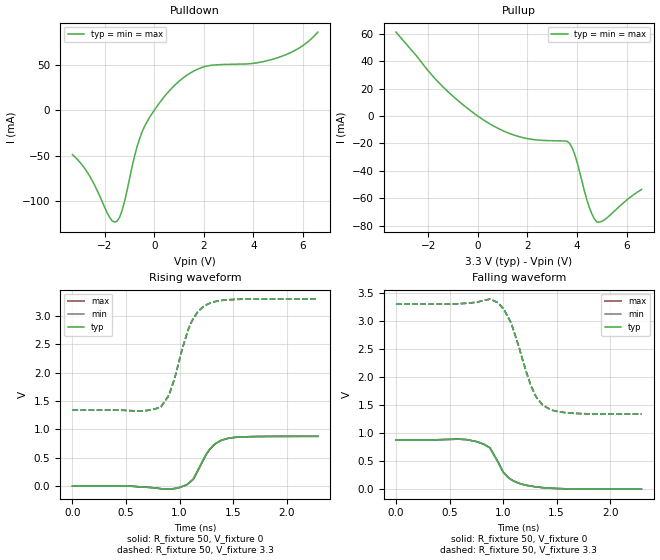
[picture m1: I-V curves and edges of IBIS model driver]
| IBIS file ex2_skewp_tr1ps.ibs created by PYS2IBIS3
| Missouri S&T EMC Lab
[IBIS Ver] 7.1
[File Name] ex2_skewp_tr1ps.ibs
[File Rev] 1.0
[Date] July 28, 2026
[Source] ex2 variant 'skewp' -- output PMOS at half width
[Notes] Parameter selection; sim_time=2.292e-09, tr=tf=1.000e-12.
[Disclaimer] Experimental characterization for pybis observability study.
[Component] MCM Driver 1
[Manufacturer] MegaFLOPS Inc.
[Package]
| variable   typ   min   max
R_pkg 0 NA NA
L_pkg 0H NA NA
C_pkg 0F NA NA
[Pin]  signal_name   model_name   R_pin   L_pin   C_pin
vdd   vdd   POWER
gnd   gnd   GND
| in in dummy
out   out   driver
| End of Component
| Models and submodels in the file (1): driver (Output)
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[Model] driver
Model_type Output
Polarity Non-Inverting
Enable Active-Low
Vinl  = 0.8V
Vinh  = 2V
C_comp 5.0000pF 5.0000pF 5.0000pF
[Temperature Range] 27.0000 27.0000 27.0000
[Voltage Range] 3.3000V 3.3000V 3.3000V
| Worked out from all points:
|   slope of the pulldown table from 0 to 0.495 V, typ, clamps not added: 27.4 ohm
|   slope of the pullup table from 0 to 0.495 V, typ, clamps not added: 85.1 ohm
|   rising waveform, R_fixture 50, V_fixture 0: 20-80 % time 165ps typ, 165ps min, 165ps max; typ from 0 V to 0.876 V
|   rising waveform, R_fixture 50, V_fixture 3.3: 20-80 % time 191ps typ, 190ps min, 190ps max; typ from 1.34 V to 3.3 V
|   falling waveform, R_fixture 50, V_fixture 0: 20-80 % time 185ps typ, 183ps min, 183ps max; typ from 0.876 V to 0 V
|   falling waveform, R_fixture 50, V_fixture 3.3: 20-80 % time 202ps typ, 202ps min, 202ps max; typ from 3.3 V to 1.34 V
[Pulldown]
| Voltage   I(typ)   I(min)   I(max)
-3.3V     -48.93mA   -48.93mA   -48.93mA
-2.6V     -72.86mA   -72.86mA   -72.86mA
-1.8V     -118.2mA   -118.2mA   -118.2mA
-1.5V     -122.5mA   -122.5mA   -122.5mA
-1.3V     -110.9mA   -110.9mA   -110.9mA
-800mV    -51.3mA    -51.3mA    -51.3mA
-500mV    -24.59mA   -24.59mA   -24.59mA
100mV     4.004mA    4.004mA    4.004mA
900mV     29.68mA    29.68mA    29.68mA
2.1V      48.76mA    48.76mA    48.76mA
5.1V      59.31mA    59.31mA    59.31mA
6.6V      86.45mA    86.45mA    86.45mA
[Pullup]
| Voltage   I(typ)   I(min)   I(max)
-3.3V     61.37mA    61.37mA    61.37mA
-1.4V     21.26mA    21.26mA    21.26mA
-600mV    8.306mA    8.306mA    8.306mA
300mV     -3.662mA   -3.662mA   -3.662mA
1.7V      -15.2mA    -15.2mA    -15.2mA
3.6V      -18.41mA   -18.41mA   -18.41mA
3.7V      -19.94mA   -19.94mA   -19.94mA
3.9V      -27.54mA   -27.54mA   -27.54mA
4.5V      -66.93mA   -66.93mA   -66.93mA
4.8V      -77.41mA   -77.41mA   -77.41mA
5.1V      -75.86mA   -75.86mA   -75.86mA
6.6V      -53.64mA   -53.64mA   -53.64mA
[Ramp]
| variable   typ   min   max
dV/dt_r 0.5258/0.1655n 0.5258/0.1649n 0.5258/0.1649n
dV/dt_f 1.1766/0.2019n 1.1766/0.2021n 1.1766/0.2021n
R_load = 50
[Rising Waveform]
R_fixture = 50
V_fixture = 0
|time   V(typ)   V(min)   V(max)
0s        3.917nV    3.917nV    3.917nV
977.5ps   -39.37mV   -41.77mV   -41.77mV
1.058ns   11.14mV    12.27mV    12.27mV
1.131ns   139.4mV    122.9mV    122.9mV
1.237ns   523.9mV    516.5mV    516.5mV
1.274ns   632.7mV    622.2mV    622.2mV
1.331ns   742.4mV    740.2mV    740.2mV
1.386ns   802.8mV    802.4mV    802.4mV
1.579ns   866.2mV    866.2mV    866.2mV
2.292ns   876.3mV    876.3mV    876.3mV
[Rising Waveform]
R_fixture = 50
V_fixture = 3.3
|time   V(typ)   V(min)   V(max)
0s        1.338V     1.338V     1.338V
663.1ps   1.326V     1.326V     1.326V
828.3ps   1.414V     1.397V     1.397V
904.1ps   1.634V     1.611V     1.611V
949.9ps   1.884V     1.874V     1.874V
1.088ns   2.804V     2.788V     2.788V
1.163ns   3.055V     3.058V     3.058V
1.246ns   3.199V     3.191V     3.191V
1.496ns   3.292V     3.292V     3.292V
2.292ns   3.3V       3.3V       3.3V
[Falling Waveform]
R_fixture = 50
V_fixture = 0
|time   V(typ)   V(min)   V(max)
0s        876.4mV    876.4mV    876.4mV
649.4ps   885.6mV    885.5mV    885.5mV
814.6ps   803.9mV    807.7mV    807.7mV
878.8ps   722.1mV    735.2mV    735.2mV
998.1ps   304.8mV    315.1mV    315.1mV
1.049ns   201mV      205.9mV    205.9mV
1.124ns   121.9mV    124.2mV    124.2mV
1.2ns     74.3mV     75.49mV    75.49mV
1.512ns   10.6mV     10.75mV    10.75mV
2.292ns   86.91uV    78.58uV    78.58uV
[Falling Waveform]
R_fixture = 50
V_fixture = 3.3
|time   V(typ)   V(min)   V(max)
0s        3.3V       3.3V       3.3V
580.5ps   3.305V     3.304V     3.304V
881.1ps   3.383V     3.387V     3.387V
1.003ns   3.211V     3.217V     3.217V
1.076ns   2.948V     2.96V      2.96V
1.26ns    1.834V     1.849V     1.849V
1.308ns   1.642V     1.65V      1.65V
1.368ns   1.499V     1.503V     1.503V
1.581ns   1.363V     1.363V     1.363V
2.292ns   1.339V     1.339V     1.339V
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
